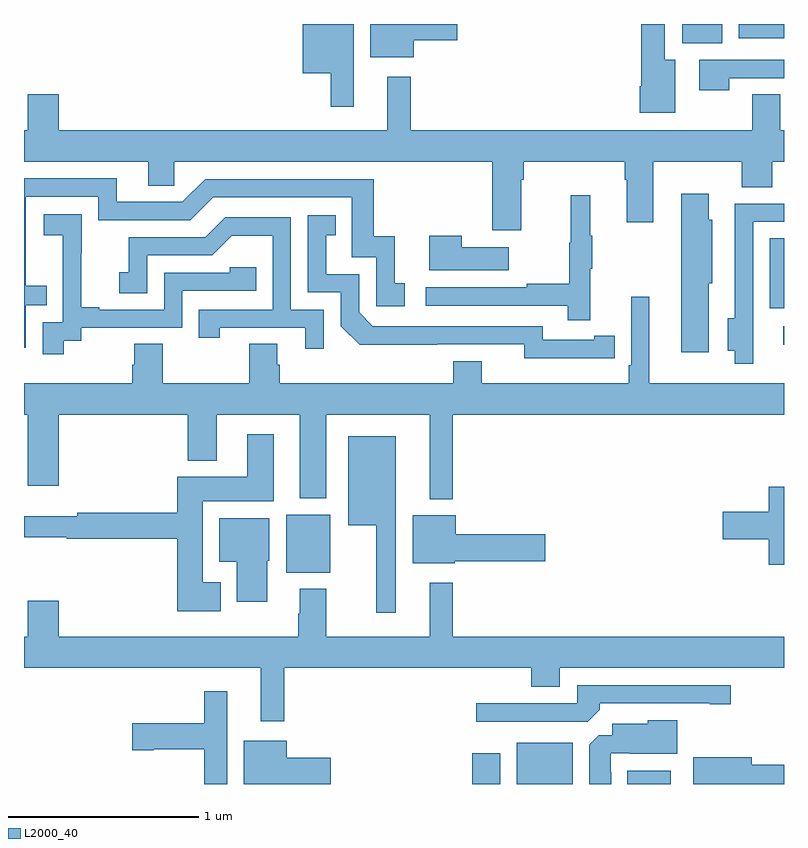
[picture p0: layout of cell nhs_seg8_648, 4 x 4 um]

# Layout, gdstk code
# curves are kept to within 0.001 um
import gdstk
lib = gdstk.Library(unit=1e-6, precision=1e-09)
def R(c, l, rs):  # rectangles x0, y0, x1, y1
    for r in rs: c.add(gdstk.rectangle(r[:2], r[2:], *l))
def P(c, l, *ps):  # polygons
    for p in ps: c.add(gdstk.Polygon(p, *l))
L2000_40 = (2000, 40)

nhs_seg8_648 = lib.new_cell('nhs_seg8_648')
R(nhs_seg8_648, L2000_40, [(155.36,1103.9,155.506,1104.061), (155.594,1103.9,155.887,1104.118), (156.176,1103.9,156.403,1103.971), (154.379,1105.013,154.612,1105.318), (156.996,1106.213,157,1106.31), (156.926,1106.403,157,1106.773), (156.464,1107.8,156.676,1107.9), (156.761,1107.824,157,1107.9)])
P(nhs_seg8_648, L2000_40, [(155.05,1107.814),(155.281,1107.814),(155.281,1107.9),(154.823,1107.9),(154.823,1107.725),(155.05,1107.725)],
  [(154.735,1107.9),(154.466,1107.9),(154.466,1107.641),(154.614,1107.641),(154.614,1107.465),(154.735,1107.465)],
  [(156.427,1107.712),(156.373,1107.712),(156.373,1107.9),(156.248,1107.9),(156.248,1107.573),(156.242,1107.573),(156.242,1107.434),(156.427,1107.434)],
  [(156.711,1107.615),(157,1107.615),(157,1107.711),(156.555,1107.711),(156.555,1107.552),(156.711,1107.552)],
  [(155.617,1107.08),(155.63,1107.08),(155.63,1107.176),(156.161,1107.176),(156.161,1107.08),(156.173,1107.08),(156.173,1106.856),(156.313,1106.856),(156.313,1107.176),(156.778,1107.176),(156.778,1107.04),(156.938,1107.04),(156.938,1107.176),(157,1107.176),(157,1107.34),(156.979,1107.34),(156.979,1107.53),(156.832,1107.53),(156.832,1107.34),(155.035,1107.34),(155.035,1107.622),(154.913,1107.622),(154.913,1107.34),(153.184,1107.34),(153.184,1107.529),(153.02,1107.529),(153.02,1107.34),(153,1107.34),(153,1107.176),(153.653,1107.176),(153.653,1107.049),(153.792,1107.049),(153.792,1107.176),(155.465,1107.176),(155.465,1106.814),(155.617,1106.814)],
  [(153.009,1106.421),(153.119,1106.421),(153.119,1106.522),(153.009,1106.522),(153.009,1106.991),(153.39,1106.991),(153.39,1106.868),(153.876,1106.868),(153.996,1106.988),(154.725,1106.988),(154.725,1106.673),(154.854,1106.673),(154.854,1106.415),(155.005,1106.415),(155.005,1106.535),(154.952,1106.535),(154.952,1106.782),(154.841,1106.782),(154.841,1107.084),(153.954,1107.084),(153.834,1106.964),(153.487,1106.964),(153.487,1107.087),(153,1107.087),(153,1106.196),(153.009,1106.196)],
  [(156.604,1106.535),(156.622,1106.535),(156.622,1106.871),(156.604,1106.871),(156.604,1107.007),(156.458,1107.007),(156.458,1106.172),(156.604,1106.172)],
  [(155.981,1106.611),(155.992,1106.611),(155.992,1106.785),(155.981,1106.785),(155.981,1106.998),(155.878,1106.998),(155.878,1106.748),(155.871,1106.748),(155.871,1106.534),(155.647,1106.534),(155.647,1106.514),(155.115,1106.514),(155.115,1106.418),(155.863,1106.418),(155.863,1106.34),(155.981,1106.34)],
  [(156.838,1106.334),(156.837,1106.334),(156.837,1106.859),(157,1106.859),(157,1106.955),(156.741,1106.955),(156.741,1106.351),(156.704,1106.351),(156.704,1106.18),(156.74,1106.18),(156.74,1106.112),(156.838,1106.112)],
  [(153.208,1106.233),(153.3,1106.233),(153.3,1106.301),(153.834,1106.301),(153.834,1106.496),(154.223,1106.496),(154.223,1106.619),(154.083,1106.619),(154.083,1106.592),(153.738,1106.592),(153.738,1106.397),(153.397,1106.397),(153.397,1106.41),(153.302,1106.41),(153.302,1106.693),(153.303,1106.693),(153.303,1106.899),(153.105,1106.899),(153.105,1106.789),(153.203,1106.789),(153.203,1106.561),(153.204,1106.561),(153.204,1106.331),(153.099,1106.331),(153.099,1106.163),(153.208,1106.163)],
  [(156.002,1106.142),(156.11,1106.142),(156.11,1106.258),(156.002,1106.258),(156.002,1106.238),(155.73,1106.238),(155.73,1106.31),(154.836,1106.31),(154.764,1106.382),(154.764,1106.583),(154.591,1106.583),(154.591,1106.787),(154.64,1106.787),(154.64,1106.893),(154.494,1106.893),(154.494,1106.487),(154.668,1106.487),(154.668,1106.31),(154.766,1106.213),(155.634,1106.214),(155.634,1106.141)],
  [(154.578,1106.397),(154.404,1106.397),(154.404,1106.883),(154.058,1106.883),(153.953,1106.778),(153.55,1106.778),(153.55,1106.593),(153.501,1106.593),(153.501,1106.484),(153.648,1106.484),(153.648,1106.682),(153.99,1106.682),(154.094,1106.786),(154.308,1106.786),(154.308,1106.397),(153.919,1106.397),(153.919,1106.25),(154.03,1106.25),(154.03,1106.301),(154.481,1106.301),(154.481,1106.19),(154.578,1106.19)],
  [(155.551,1106.725),(155.303,1106.725),(155.303,1106.785),(155.132,1106.785),(155.132,1106.603),(155.551,1106.603)],
  [(155.257,1105.844),(157,1105.844),(157,1106.008),(156.292,1106.008),(156.292,1106.464),(156.195,1106.464),(156.195,1106.104),(156.182,1106.104),(156.182,1106.008),(155.41,1106.008),(155.41,1106.125),(155.258,1106.125),(155.258,1106.008),(154.346,1106.008),(154.346,1106.106),(154.333,1106.106),(154.333,1106.216),(154.186,1106.216),(154.186,1106.008),(153.729,1106.008),(153.729,1106.216),(153.581,1106.216),(153.581,1106.106),(153.569,1106.106),(153.569,1106.008),(153,1106.008),(153,1105.844),(153.02,1105.844),(153.02,1105.47),(153.184,1105.47),(153.184,1105.844),(153.863,1105.844),(153.863,1105.601),(154.015,1105.601),(154.015,1105.844),(154.451,1105.844),(154.451,1105.403),(154.591,1105.403),(154.591,1105.844),(155.135,1105.844),(155.135,1105.4),(155.257,1105.4)],
  [(154.036,1104.961),(153.94,1104.961),(153.94,1105.388),(154.315,1105.388),(154.315,1105.741),(154.175,1105.741),(154.175,1105.516),(153.806,1105.516),(153.806,1105.328),(153.28,1105.328),(153.28,1105.309),(153,1105.309),(153,1105.2),(153.226,1105.2),(153.226,1105.192),(153.806,1105.192),(153.806,1104.809),(154.036,1104.809)],
  [(154.957,1105.729),(154.706,1105.729),(154.706,1105.262),(154.853,1105.262),(154.853,1104.801),(154.957,1104.801)],
  [(157,1105.465),(156.92,1105.465),(156.92,1105.334),(156.678,1105.334),(156.678,1105.187),(156.92,1105.187),(156.92,1105.055),(157,1105.055)],
  [(155.268,1105.072),(155.743,1105.072),(155.743,1105.214),(155.272,1105.214),(155.272,1105.315),(155.045,1105.315),(155.045,1105.061),(155.268,1105.061)],
  [(154.279,1105.074),(154.291,1105.074),(154.291,1105.3),(154.028,1105.3),(154.028,1105.07),(154.121,1105.07),(154.121,1104.858),(154.279,1104.858)],
  [(154.369,1104.512),(155.669,1104.512),(155.669,1104.413),(155.821,1104.413),(155.821,1104.512),(157,1104.512),(157,1104.676),(155.257,1104.676),(155.257,1104.958),(155.135,1104.958),(155.135,1104.676),(154.591,1104.676),(154.591,1104.928),(154.451,1104.928),(154.451,1104.797),(154.444,1104.797),(154.444,1104.676),(153.184,1104.676),(153.184,1104.865),(153.02,1104.865),(153.02,1104.676),(153,1104.676),(153,1104.512),(154.247,1104.512),(154.247,1104.231),(154.369,1104.231)],
  [(156.029,1104.29),(156.029,1104.324),(156.608,1104.324),(156.608,1104.319),(156.721,1104.319),(156.721,1104.42),(155.913,1104.42),(155.913,1104.324),(155.379,1104.324),(155.379,1104.228),(155.967,1104.228)],
  [(154.069,1104.388),(153.948,1104.388),(153.948,1104.219),(153.57,1104.219),(153.57,1104.077),(153.682,1104.077),(153.682,1104.082),(153.948,1104.082),(153.948,1103.9),(154.069,1103.9)],
  [(156.091,1103.963),(156.087,1103.963),(156.087,1104.063),(156.187,1104.063),(156.187,1104.059),(156.439,1104.059),(156.439,1104.235),(156.282,1104.235),(156.282,1104.217),(156.095,1104.217),(156.095,1104.156),(156.024,1104.156),(155.975,1104.107),(155.975,1103.9),(156.091,1103.9)],
  [(154.615,1104.039),(154.384,1104.039),(154.384,1104.127),(154.157,1104.127),(154.157,1103.9),(154.615,1103.9)],
  [(157,1104.002),(156.829,1104.002),(156.829,1104.04),(156.522,1104.04),(156.522,1103.9),(157,1103.9)])

lib.write_gds('nhs_seg8_648.gds')
